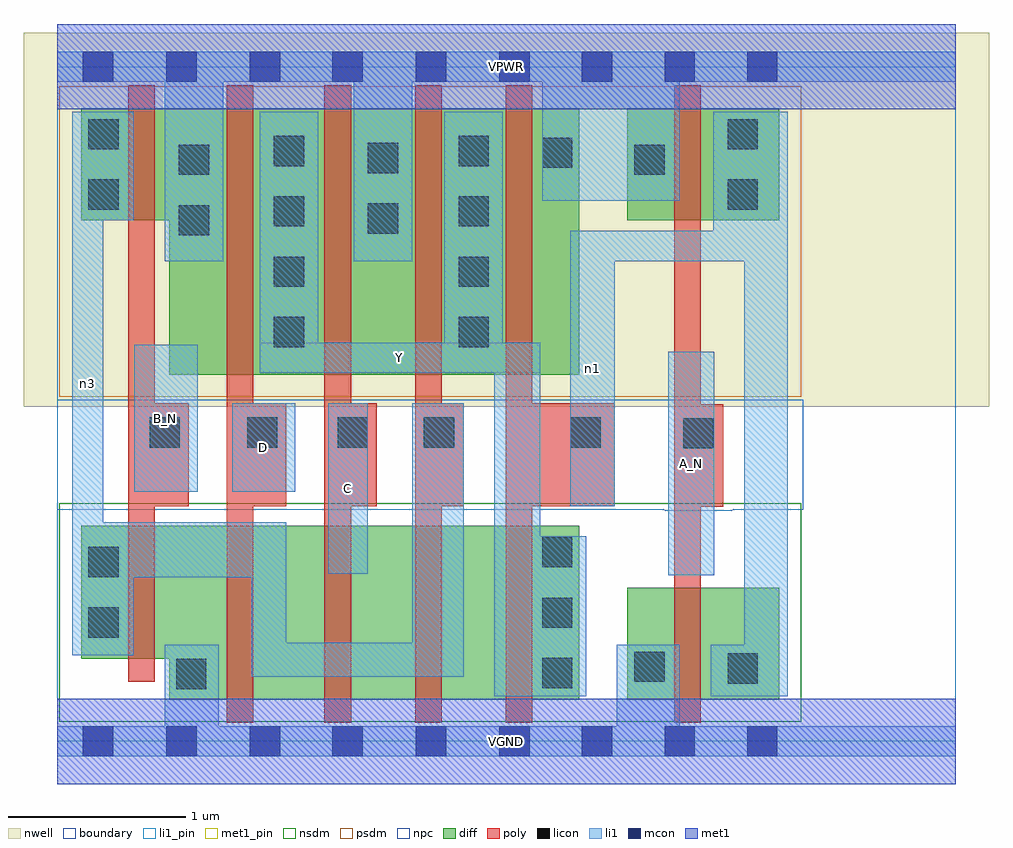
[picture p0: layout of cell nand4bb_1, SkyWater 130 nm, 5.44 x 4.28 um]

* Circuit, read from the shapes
.subckt nand4bb_1 A_N B_N C D VGND VPWR Y n1 n3
XM1 VGND B_N n3 VSUBS sky130_fd_pr__nfet_01v8 w=0.75 l=0.15
XM2 n2 D VGND VSUBS sky130_fd_pr__nfet_01v8 w=0.98 l=0.15
XM3 n4 C n2 VSUBS sky130_fd_pr__nfet_01v8 w=0.98 l=0.15
XM4 n5 n3 n4 VSUBS sky130_fd_pr__nfet_01v8 w=0.98 l=0.15
XM5 Y n1 n5 VSUBS sky130_fd_pr__nfet_01v8 w=0.98 l=0.15
XM6 n1 A_N VGND VSUBS sky130_fd_pr__nfet_01v8 w=0.63 l=0.15
XM7 VPWR B_N n3 n6 sky130_fd_pr__pfet_01v8 w=0.63 l=0.15
XM8 Y D VPWR n6 sky130_fd_pr__pfet_01v8 w=1.5 l=0.15
XM9 VPWR C Y n6 sky130_fd_pr__pfet_01v8 w=1.5 l=0.15
XM10 Y n3 VPWR n6 sky130_fd_pr__pfet_01v8 w=1.5 l=0.15
XM11 VPWR n1 Y n6 sky130_fd_pr__pfet_01v8 w=1.5 l=0.15
XM12 n1 A_N VPWR n6 sky130_fd_pr__pfet_01v8 w=0.63 l=0.15
.ends

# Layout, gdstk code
import gdstk
lib = gdstk.Library(unit=1e-6, precision=1e-09)
def R(c, l, rs):  # rectangles x0, y0, x1, y1
    for r in rs: c.add(gdstk.rectangle(r[:2], r[2:], *l))
def A(c, l, x, y, w, h, nx, ny, dx, dy):  # array of equal rectangles
    R(c, l, [(x+i*dx, y+j*dy, x+i*dx+w, y+j*dy+h) for i in range(nx) for j in range(ny)])
nwell = (64, 20)
diff = (65, 20)
poly = (66, 20)
licon = (66, 44)
li1_pin = (67, 16)
li1 = (67, 20)
mcon = (67, 44)
met1_pin = (68, 16)
met1 = (68, 20)
nsdm = (93, 44)
psdm = (94, 20)
npc = (95, 20)
boundary = (235, 4)

nand4bb_1 = lib.new_cell('nand4bb_1')
R(nand4bb_1, nwell, [(-0.19,1.885,5.25,3.99), (0,1.885,5.06,3.99)])
R(nand4bb_1, diff, [(0.63,0.235,2.94,1.215), (3.21,0.235,4.065,0.865), (0.135,0.465,2.94,1.215), (0.63,2.065,2.94,3.565), (0.135,2.935,2.94,3.565), (3.21,2.935,4.065,3.565)])
A(nand4bb_1, poly, 1.505, 0.105, 0.15, 3.59, 3, 1, 0.51, 0)
R(nand4bb_1, poly, [(0.955,0.105,1.105,3.695), (3.475,0.105,3.625,3.695), (0.4,0.335,0.55,3.695), (3.475,1.32,3.75,1.9), (0.4,1.325,0.74,1.905), (0.955,1.325,1.29,1.905), (1.505,1.325,1.8,1.905), (2.015,1.325,2.29,1.905), (2.525,1.325,3.14,1.905)])
A(nand4bb_1, licon, 2.73, 0.3, 0.17, 0.17, 1, 3, 0, 0.34)
A(nand4bb_1, licon, 1.22, 2.22, 0.17, 0.17, 1, 4, 0, 0.34)
A(nand4bb_1, licon, 2.26, 2.22, 0.17, 0.17, 1, 4, 0, 0.34)
R(nand4bb_1, licon, [(0.67,0.295,0.84,0.465), (3.775,0.325,3.945,0.495), (3.25,0.335,3.42,0.505), (0.175,0.585,0.345,0.755), (0.175,0.925,0.345,1.095), (3.525,1.65,3.695,1.82), (0.52,1.655,0.69,1.825), (1.07,1.655,1.24,1.825), (1.58,1.655,1.75,1.825), (2.065,1.655,2.235,1.825), (2.89,1.655,3.06,1.825), (0.685,2.85,0.855,3.02), (1.75,2.86,1.92,3.03), (0.175,2.995,0.345,3.165), (3.775,2.995,3.945,3.165), (0.685,3.19,0.855,3.36), (3.25,3.19,3.42,3.36), (1.75,3.2,1.92,3.37), (2.73,3.23,2.9,3.4), (0.175,3.335,0.345,3.505), (3.775,3.335,3.945,3.505)])
R(nand4bb_1, li1_pin, [(3.44,0.935,3.7,2.195), (1.525,0.945,1.75,1.905), (0.435,1.405,0.79,2.235), (0.985,1.405,1.34,1.905), (1.14,2.075,2.72,2.245)])
R(nand4bb_1, li1, [(0,-0.085,5.06,0.085), (0.605,-0.085,0.91,0.545), (3.15,-0.085,3.505,0.545), (2.46,0.255,2.72,2.245), (2.46,0.255,2.98,1.155), (3.68,0.255,4.115,0.545), (3.87,0.255,4.115,3.545), (1.095,0.365,2.29,0.555), (1.095,0.365,1.29,1.235), (2,0.365,2.29,1.905), (0.085,0.485,0.26,3.545), (0.085,0.485,0.43,1.235), (0.085,0.925,1.29,1.235), (3.44,0.935,3.7,2.195), (1.525,0.945,1.75,1.905), (2.89,1.325,3.14,2.875), (0.435,1.405,0.79,2.235), (0.985,1.405,1.34,1.905), (1.14,2.075,1.47,3.545), (1.14,2.075,2.72,2.245), (2.18,2.075,2.51,3.545), (0.605,2.705,0.935,3.885), (1.67,2.705,2,3.885), (2.89,2.705,4.115,2.875), (3.695,2.705,4.115,3.545), (0.085,2.935,0.43,3.545), (2.73,3.045,3.505,3.885), (0,3.715,5.06,3.885)])
A(nand4bb_1, mcon, 0.145, -0.085, 0.17, 0.17, 3, 2, 0.47, 3.8)
A(nand4bb_1, mcon, 1.55, -0.085, 0.17, 0.17, 3, 2, 0.47, 3.8)
A(nand4bb_1, mcon, 2.955, -0.085, 0.17, 0.17, 3, 2, 0.465, 3.8)
R(nand4bb_1, met1_pin, [(0,-0.24,5.06,0.24), (0,3.56,5.06,4.04)])
R(nand4bb_1, met1, [(0,-0.24,5.06,0.24), (0,3.56,5.06,4.04)])
R(nand4bb_1, nsdm, [(0.01,0.11,4.19,1.34)])
R(nand4bb_1, psdm, [(0.01,1.94,4.19,3.69)])
R(nand4bb_1, npc, [(3.42,1.3,3.8,1.925), (0,1.305,4.2,1.925)])
R(nand4bb_1, boundary, [(0,0,5.06,3.8)])
nand4bb_1.add(gdstk.Label('A_N', (3.57,1.565), layer=67, texttype=5))
nand4bb_1.add(gdstk.Label('B_N', (0.612,1.82), layer=67, texttype=5))
nand4bb_1.add(gdstk.Label('C', (1.637,1.425), layer=67, texttype=5))
nand4bb_1.add(gdstk.Label('D', (1.162,1.655), layer=67, texttype=5))
nand4bb_1.add(gdstk.Label('Y', (1.93,2.16), layer=67, texttype=5))
nand4bb_1.add(gdstk.Label('n3', (0.172,2.015), layer=67, texttype=5))
nand4bb_1.add(gdstk.Label('n1', (3.015,2.1), layer=67, texttype=5))
nand4bb_1.add(gdstk.Label('VPWR', (2.53,3.8), layer=68, texttype=5))
nand4bb_1.add(gdstk.Label('VGND', (2.53,0), layer=68, texttype=5))
nand4bb_1.add(gdstk.Label('A_N', (3.57,1.565), layer=67, texttype=16))
nand4bb_1.add(gdstk.Label('B_N', (0.612,1.82), layer=67, texttype=16))
nand4bb_1.add(gdstk.Label('C', (1.637,1.425), layer=67, texttype=16))
nand4bb_1.add(gdstk.Label('D', (1.162,1.655), layer=67, texttype=16))
nand4bb_1.add(gdstk.Label('Y', (1.93,2.16), layer=67, texttype=16))
nand4bb_1.add(gdstk.Label('VPWR', (2.53,3.8), layer=68, texttype=16))
nand4bb_1.add(gdstk.Label('VGND', (2.53,0), layer=68, texttype=16))

lib.write_gds('nand4bb_1.gds')
